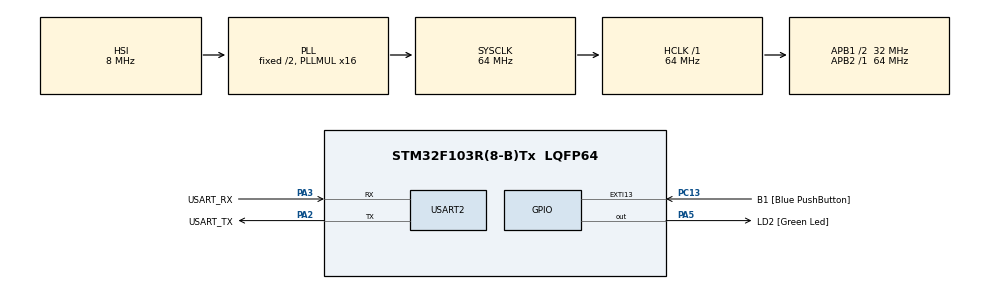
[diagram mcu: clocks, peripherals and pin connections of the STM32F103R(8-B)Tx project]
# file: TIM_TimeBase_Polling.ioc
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Mcu.Family=STM32F1
Mcu.Name=STM32F103R(8-B)Tx
Mcu.Package=LQFP64
NVIC.EXTI15_10_IRQn=true\:0\:0\:false\:false\:true\:true\:true\:true
NVIC.PriorityGroup=NVIC_PRIORITYGROUP_4
PA13.GPIO_Label=TMS
PA13.Mode=Serial_Wire
PA13.Signal=SYS_JTMS-SWDIO
PA14.GPIO_Label=TCK
PA14.Mode=Serial_Wire
PA14.Signal=SYS_JTCK-SWCLK
PA2.GPIO_Label=USART_TX
PA2.GPIO_Mode=GPIO_MODE_AF_PP
PA2.GPIO_PuPd=GPIO_NOPULL
PA2.GPIO_Speed=GPIO_SPEED_FREQ_LOW
PA2.Mode=Asynchronous
PA2.Signal=USART2_TX
PA3.GPIO_Label=USART_RX
PA3.GPIO_Mode=GPIO_MODE_INPUT
PA3.GPIO_PuPd=GPIO_NOPULL
PA3.Mode=Asynchronous
PA3.Signal=USART2_RX
PA5.GPIO_Label=LD2 [Green Led]
PA5.GPIO_ModeDefaultOutputPP=GPIO_MODE_OUTPUT_PP
PA5.GPIO_PuPd=GPIO_NOPULL
PA5.GPIO_Speed=GPIO_SPEED_FREQ_LOW
PA5.Signal=GPIO_Output
PB3.GPIO_Label=SWO
PB3.Signal=SYS_JTDO-TRACESWO
PC13-TAMPER-RTC.GPIO_Label=B1 [Blue PushButton]
PC13-TAMPER-RTC.GPIO_PuPd=GPIO_NOPULL
PC13-TAMPER-RTC.Signal=GPXTI13
PC14-OSC32_IN.Mode=LSE-External-Oscillator
PC14-OSC32_IN.Signal=RCC_OSC32_IN
PC15-OSC32_OUT.Mode=LSE-External-Oscillator
PC15-OSC32_OUT.Signal=RCC_OSC32_OUT
PD0-OSC_IN.Mode=HSE-External-Clock-Source
PD0-OSC_IN.Signal=RCC_OSC_IN
PD1-OSC_OUT.Mode=HSE-External-Clock-Source
PD1-OSC_OUT.Signal=RCC_OSC_OUT
ProjectManager.HeapSize=0x200
ProjectManager.StackSize=0x400
ProjectManager.TargetToolchain=STM32CubeIDE
RCC.AHBFreq_Value=64000000
RCC.APB1CLKDivider=RCC_HCLK_DIV2
RCC.APB1Freq_Value=32000000
RCC.APB1TimFreq_Value=64000000
RCC.APB2Freq_Value=64000000
RCC.APB2TimFreq_Value=64000000
RCC.HCLKFreq_Value=64000000
RCC.PLLMUL=RCC_PLL_MUL16
RCC.RTCClockSelection=RCC_RTCCLKSOURCE_LSE
RCC.SYSCLKFreq_VALUE=64000000
RCC.SYSCLKSource=RCC_SYSCLKSOURCE_PLLCLK
RCC.USBFreq_Value=64000000
TIM3.AutoReloadPreload=TIM_AUTORELOAD_PRELOAD_ENABLE
TIM3.Period=999
TIM3.Prescaler=63
USART2.VirtualMode=VM_ASYNC
VP_TIM3_VS_ClockSourceINT.Mode=Internal
board=NUCLEO-F103RB

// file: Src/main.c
/* USER CODE BEGIN Header */
/**
 ******************************************************************************
 * @file           : main.c
 * @brief          : Main program body
 ******************************************************************************
 * @attention
 *
 * Copyright (c) 2026 STMicroelectronics.
 * All rights reserved.
 *
 * This software is licensed under terms that can be found in the LICENSE file
 * in the root directory of this software component.
 * If no LICENSE file comes with this software, it is provided AS-IS.
 *
 ******************************************************************************
 */
/* USER CODE END Header */
#include "main.h"

/* USER CODE BEGIN Includes */
#include <stdio.h>
/* USER CODE END Includes */

TIM_HandleTypeDef htim3;

UART_HandleTypeDef huart2;

/* USER CODE BEGIN PV */
/*
 * 이 예제에는 TIM3 ISR 도, HAL_TIM_PeriodElapsedCallback 도 없다.
 * 아래 변수는 main 루프에서만 읽고 쓰므로 volatile 이 필요 없다.
 */
uint32_t gTimerCnt;              /* 폴링으로 확인한 1ms 업데이트 횟수 (0~999) */
uint32_t gSeconds;               /* 경과 시간 [s] - UIF 1000회마다 1 증가 */
uint32_t gTickStart;             /* 타이머 시작 시점의 HAL_GetTick() [ms] (비교 기준) */
/* USER CODE END PV */

void SystemClock_Config(void);
static void MX_GPIO_Init(void);
static void MX_USART2_UART_Init(void);
static void MX_TIM3_Init(void);

/* USER CODE BEGIN 0 */
/*
 * printf 리타깃 (HAL 계층)
 *   printf -> newlib _write (syscalls.c) -> __io_putchar(ch) -> HAL_UART_Transmit
 *   USART2(PA2 TX, 115200 8N1)는 ST-LINK 가상 COM 포트로 연결되어 PC 터미널에 출력된다.
 *   HAL_UART_Transmit 은 USART2_SR.TXE 를 폴링하며 USART2_DR 에 1바이트씩 쓰는 블로킹 함수이다.
 *   '\n' 앞에 '\r' 을 추가 전송해 터미널에서 줄 바꿈이 맞게 보이게 한다.
 */
int __io_putchar(int ch) {
	if (ch == '\n') {
		uint8_t cr = '\r';
		HAL_UART_Transmit(&huart2, &cr, 1, HAL_MAX_DELAY);
	}
	HAL_UART_Transmit(&huart2, (uint8_t*) &ch, 1, HAL_MAX_DELAY);
	return ch;
}
/* USER CODE END 0 */

int main(void)
{

  /* MCU Configuration--------------------------------------------------------*/

  /* Reset of all peripherals, Initializes the Flash interface and the Systick. */
  HAL_Init();

  /* Configure the system clock */
  SystemClock_Config();

  /* Initialize all configured peripherals */
  MX_GPIO_Init();
  MX_USART2_UART_Init();
  MX_TIM3_Init();
  /* USER CODE BEGIN 2 */
	printf("TIM3 TimeBase start (1ms update, UIF polling, print every 1s)\n");

	/*
	 * 시작 전 UIF 정리
	 *   HAL_TIM_Base_Init() 은 TIM3_EGR.UG 로 PSC/ARR 을 즉시 반영하는데, 이때 TIM3_SR.UIF 가
	 *   세트될 수 있다. (현재 HAL 버전은 Init 안에서 지워 주지만 버전에 따라 다르다.)
	 *   남은 UIF 를 지우지 않으면 첫 1ms 를 공짜로 세게 되므로 시작 직전에 명시적으로 지운다.
	 *   TIM3_SR.UIF(bit0) 는 rc_w0 비트: 0 을 써야 지워진다 -> __HAL_TIM_CLEAR_FLAG 는 SR = ~UIF 를 쓴다.
	 */
	__HAL_TIM_CLEAR_FLAG(&htim3, TIM_FLAG_UPDATE);
	gTickStart = HAL_GetTick();

	/*
	 * HAL_TIM_Base_Start (인터럽트 없는 버전)
	 *   TIM3_CR1.CEN = 1 (카운터 시작) 만 한다.
	 *   TIM3_DIER.UIE 는 0 그대로이므로 오버플로 때 UIF 플래그만 서고 TIM3_IRQn 은 발생하지 않는다.
	 *   (01_TIM_TimeBase 의 HAL_TIM_Base_Start_IT 는 여기에 DIER.UIE = 1 을 더한다.)
	 */
	if (HAL_TIM_Base_Start(&htim3) != HAL_OK) {
		Error_Handler();
	}
  /* USER CODE END 2 */

  /* Infinite loop */
	while (1) {

    /* USER CODE BEGIN 3 */
		/*
		 * 업데이트 플래그 폴링 (main 루프 문맥, ISR 아님)
		 *   TIM3_SR.UIF(bit0): CNT 가 ARR(999) 에서 0 으로 넘어갈 때(1ms 마다) 하드웨어가 1 로 세운다.
		 *   __HAL_TIM_GET_FLAG 는 TIM3->SR & TIM_SR_UIF 를 읽기만 한다.
		 *
		 *   주의 1) 확인하자마자 먼저 지운다.
		 *     작업(printf 등)을 마친 뒤 지우면, 작업 도중 새로 선 UIF 까지 함께 지워 1회를 잃는다.
		 *   주의 2) UIF 는 1비트라 횟수를 쌓아 두지 못한다.
		 *     루프 한 바퀴가 1ms 를 넘기면, 그 사이 여러 번 선 UIF 가 1회로 합쳐져 틱을 놓친다.
		 */
		if (__HAL_TIM_GET_FLAG(&htim3, TIM_FLAG_UPDATE) != RESET) {
			__HAL_TIM_CLEAR_FLAG(&htim3, TIM_FLAG_UPDATE);   /* TIM3_SR.UIF = 0 */

			gTimerCnt++;
			if (gTimerCnt == 1000) {                         /* 소프트웨어 분주: 1ms x 1000 = 1s */
				gTimerCnt = 0;
				HAL_GPIO_TogglePin(LD2_GPIO_Port, LD2_Pin);  /* GPIOA_ODR.ODR5 반전 */
				gSeconds++;

				/*
				 * 경과 시간 출력 + 누락 확인
				 *   이 printf 는 약 30자 x 87us(115200bps) = 2.6ms 동안 루프를 붙잡는다.
				 *   그동안 UIF 가 2~3번 서지만 1번으로만 보이므로 매초 1~2ms 씩 틱을 놓친다.
				 *   SysTick(HAL_GetTick) 은 인터럽트로 세므로 놓치지 않는다 -> 두 값의 차이(lag)가
				 *   초마다 커지는 것으로 폴링 방식의 한계를 확인한다.
				 */
				uint32_t elapsed = HAL_GetTick() - gTickStart;
				printf("[%lu s] tick=%lu ms lag=%ld ms\n", (unsigned long) gSeconds,
						(unsigned long) elapsed, (long) (elapsed - gSeconds * 1000U));
			}
		}
	}
  /* USER CODE END 3 */
}

void SystemClock_Config(void)
{
  RCC_OscInitTypeDef RCC_OscInitStruct = {0};
  RCC_ClkInitTypeDef RCC_ClkInitStruct = {0};

  /** Initializes the RCC Oscillators according to the specified parameters
  * in the RCC_OscInitTypeDef structure.
  */
  RCC_OscInitStruct.OscillatorType = RCC_OSCILLATORTYPE_HSI;
  RCC_OscInitStruct.HSIState = RCC_HSI_ON;
  RCC_OscInitStruct.HSICalibrationValue = RCC_HSICALIBRATION_DEFAULT;
  RCC_OscInitStruct.PLL.PLLState = RCC_PLL_ON;
  RCC_OscInitStruct.PLL.PLLSource = RCC_PLLSOURCE_HSI_DIV2;
  RCC_OscInitStruct.PLL.PLLMUL = RCC_PLL_MUL16;
  if (HAL_RCC_OscConfig(&RCC_OscInitStruct) != HAL_OK)
  {
    Error_Handler();
  }

  /** Initializes the CPU, AHB and APB buses clocks
  */
  RCC_ClkInitStruct.ClockType = RCC_CLOCKTYPE_HCLK|RCC_CLOCKTYPE_SYSCLK
                              |RCC_CLOCKTYPE_PCLK1|RCC_CLOCKTYPE_PCLK2;
  RCC_ClkInitStruct.SYSCLKSource = RCC_SYSCLKSOURCE_PLLCLK;
  RCC_ClkInitStruct.AHBCLKDivider = RCC_SYSCLK_DIV1;
  RCC_ClkInitStruct.APB1CLKDivider = RCC_HCLK_DIV2;
  RCC_ClkInitStruct.APB2CLKDivider = RCC_HCLK_DIV1;

  if (HAL_RCC_ClockConfig(&RCC_ClkInitStruct, FLASH_LATENCY_2) != HAL_OK)
  {
    Error_Handler();
  }
}

static void MX_TIM3_Init(void)
{

  TIM_ClockConfigTypeDef sClockSourceConfig = {0};
  TIM_MasterConfigTypeDef sMasterConfig = {0};

  htim3.Instance = TIM3;
  htim3.Init.Prescaler = 63;
  htim3.Init.CounterMode = TIM_COUNTERMODE_UP;
  htim3.Init.Period = 999;
  htim3.Init.ClockDivision = TIM_CLOCKDIVISION_DIV1;
  htim3.Init.AutoReloadPreload = TIM_AUTORELOAD_PRELOAD_ENABLE;
  if (HAL_TIM_Base_Init(&htim3) != HAL_OK)
  {
    Error_Handler();
  }
  sClockSourceConfig.ClockSource = TIM_CLOCKSOURCE_INTERNAL;
  if (HAL_TIM_ConfigClockSource(&htim3, &sClockSourceConfig) != HAL_OK)
  {
    Error_Handler();
  }
  sMasterConfig.MasterOutputTrigger = TIM_TRGO_RESET;
  sMasterConfig.MasterSlaveMode = TIM_MASTERSLAVEMODE_DISABLE;
  if (HAL_TIMEx_MasterConfigSynchronization(&htim3, &sMasterConfig) != HAL_OK)
  {
    Error_Handler();
  }

}

static void MX_USART2_UART_Init(void)
{

  huart2.Instance = USART2;
  huart2.Init.BaudRate = 115200;
  huart2.Init.WordLength = UART_WORDLENGTH_8B;
  huart2.Init.StopBits = UART_STOPBITS_1;
  huart2.Init.Parity = UART_PARITY_NONE;
  huart2.Init.Mode = UART_MODE_TX_RX;
  huart2.Init.HwFlowCtl = UART_HWCONTROL_NONE;
  huart2.Init.OverSampling = UART_OVERSAMPLING_16;
  if (HAL_UART_Init(&huart2) != HAL_OK)
  {
    Error_Handler();
  }

}

static void MX_GPIO_Init(void)
{
  GPIO_InitTypeDef GPIO_InitStruct = {0};

  /* GPIO Ports Clock Enable */
  __HAL_RCC_GPIOC_CLK_ENABLE();
  __HAL_RCC_GPIOD_CLK_ENABLE();
  __HAL_RCC_GPIOA_CLK_ENABLE();
  __HAL_RCC_GPIOB_CLK_ENABLE();

  /*Configure GPIO pin Output Level */
  HAL_GPIO_WritePin(LD2_GPIO_Port, LD2_Pin, GPIO_PIN_RESET);

  /*Configure GPIO pin : B1_Pin */
  GPIO_InitStruct.Pin = B1_Pin;
  GPIO_InitStruct.Mode = GPIO_MODE_IT_RISING;
  GPIO_InitStruct.Pull = GPIO_NOPULL;
  HAL_GPIO_Init(B1_GPIO_Port, &GPIO_InitStruct);

  /*Configure GPIO pin : LD2_Pin */
  GPIO_InitStruct.Pin = LD2_Pin;
  GPIO_InitStruct.Mode = GPIO_MODE_OUTPUT_PP;
  GPIO_InitStruct.Pull = GPIO_NOPULL;
  GPIO_InitStruct.Speed = GPIO_SPEED_FREQ_LOW;
  HAL_GPIO_Init(LD2_GPIO_Port, &GPIO_InitStruct);

  /* EXTI interrupt init*/
  HAL_NVIC_SetPriority(EXTI15_10_IRQn, 0, 0);
  HAL_NVIC_EnableIRQ(EXTI15_10_IRQn);

}

/* USER CODE BEGIN 4 */
/*
 * HAL_TIM_PeriodElapsedCallback 은 정의하지 않는다.
 *   이 콜백은 TIM3_IRQHandler(ISR) -> HAL_TIM_IRQHandler() 경로로만 불리는데, 이 예제는
 *   TIM3_DIER.UIE = 0, NVIC TIM3_IRQn 비활성(.ioc / stm32f1xx_hal_msp.c)이라 ISR 자체가 없다.
 *   UIF 확인·클리어는 main 루프(USER CODE 3)가 직접 한다.
 *   단, SysTick_Handler(HAL_GetTick 용)는 여전히 인터럽트로 동작한다.
 */
/* USER CODE END 4 */

void Error_Handler(void)
{
	__disable_irq();
	while (1) {
	}
}
